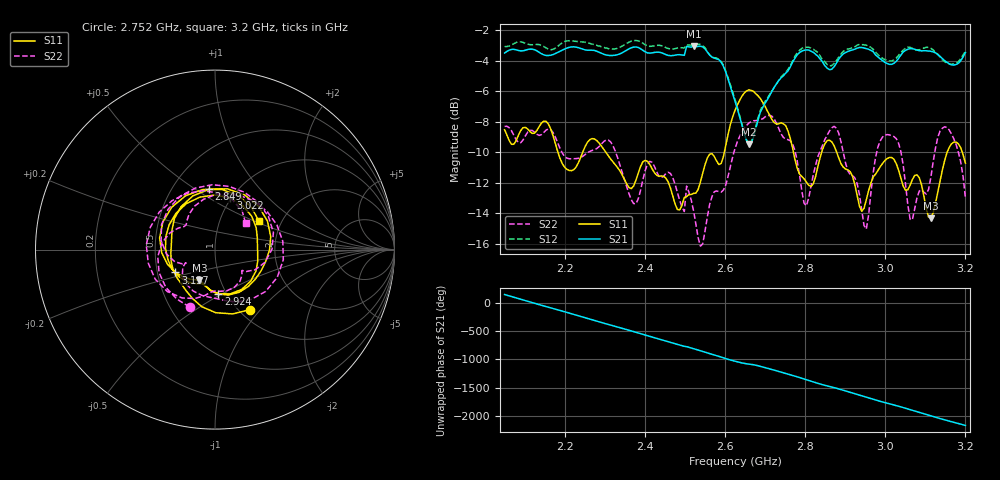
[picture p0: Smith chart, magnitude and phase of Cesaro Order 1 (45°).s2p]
! 1/7/2014 5:25:19 PM
! C:\USERS\VECTORSTARUSER\DESKTOP\GABRIEL SMS\45GRAUS.S2P
! CHANNEL.1
! TR.MEASUREMENT
! RAW.DATA
# GHZ S RI R 50.0
! FREQ.GHZ  S11RE  S11IM  S21RE  S21IM  S12RE  S12IM  S22RE  S22IM
!; PortSelection: Port_12
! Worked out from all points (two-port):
!   201 points, 2.05 GHz to 3.2 GHz, reference 50 ohm
!   highest |S21| = -3.02 dB at 2.522 GHz (marker M1); lowest = -9.5 dB at 2.66 GHz (marker M2)
!   |S21| within 3 dB of the highest: start of sweep to 2.617 GHz; 2.717 GHz to end of sweep
!   lowest |S11| = -14.3 dB at 3.114 GHz (marker M3), VSWR 1.48, Z = 39.7 - j14.1 ohm
!   |S11| at or under -10 dB: 2.303 GHz to 2.598 GHz (295.7 MHz wide, 12.1 % of centre); 2.771 GHz to 2.841 GHz (70.29 MHz wide, 2.51 % of centre); 2.879 GHz to 3.154 GHz (275.4 MHz wide, 9.13 % of centre) (the widest 3 of 5)
!   |S22| runs from -16.2 to -7.6 dB; largest |S21 - S12| = 0.19
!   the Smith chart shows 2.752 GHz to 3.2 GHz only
!   S11 on the Smith chart (normalised r, x): 2.752 GHz: 1.12, -0.88; 2.849 GHz: 0.75, +0.57; 2.924 GHz: 0.92, -0.48; 3.022 GHz: 0.99, +0.63; 3.137 GHz: 0.62, -0.17; 3.2 GHz: 1.53, +0.53
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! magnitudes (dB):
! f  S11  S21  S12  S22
! 2.05 GHz  -8.5  -3.5  -3.1  -8.3
! 2.246 GHz  -9.9  -3.2  -2.8  -10.2
! 2.315 GHz  -10.4  -3.6  -3.2  -9.3
! 2.372 GHz  -12.2  -3.1  -2.7  -13.4
! 2.435 GHz  -11.6  -3.4  -3.0  -11.6
! 2.522 GHz  -12.7  -3.0  -2.9  -13.8
! 2.545 GHz  -11.4  -3.1  -3.0  -16.0
! 2.625 GHz  -7.2  -6.6  -6.5  -9.7
! 2.66 GHz  -5.9  -9.5  -9.4  -8.1
! 2.752 GHz  -8.2  -4.8  -4.7  -9.1
! 2.798 GHz  -11.7  -3.3  -3.1  -13.3
! 2.821 GHz  -12.1  -3.4  -3.2  -11.4
! 2.849 GHz  -9.4  -4.3  -4.0  -9.2
! 2.924 GHz  -12.1  -3.2  -3.1  -11.7
! 2.953 GHz  -13.1  -3.2  -3.0  -15.0
! 2.982 GHz  -11.2  -3.7  -3.6  -9.7
! 3.01 GHz  -10.3  -4.2  -4.0  -8.9
! 3.022 GHz  -10.4  -4.2  -3.9  -9.0
! 3.062 GHz  -12.2  -3.2  -3.1  -14.4
! 3.114 GHz  -14.3  -3.4  -3.2  -11.6
! 3.137 GHz  -11.9  -3.7  -3.7  -8.6
! 3.2 GHz  -10.7  -3.5  -3.4  -13.0
